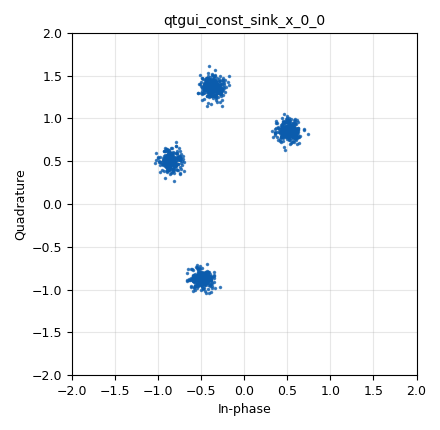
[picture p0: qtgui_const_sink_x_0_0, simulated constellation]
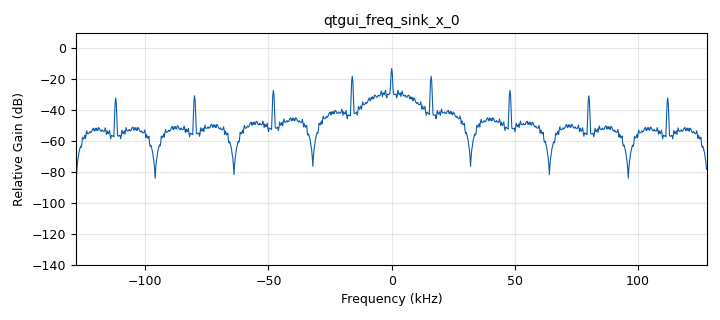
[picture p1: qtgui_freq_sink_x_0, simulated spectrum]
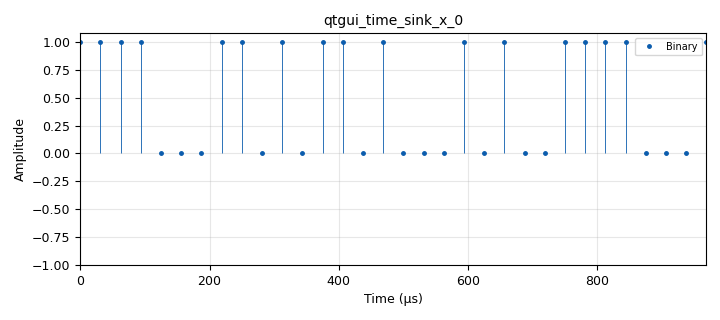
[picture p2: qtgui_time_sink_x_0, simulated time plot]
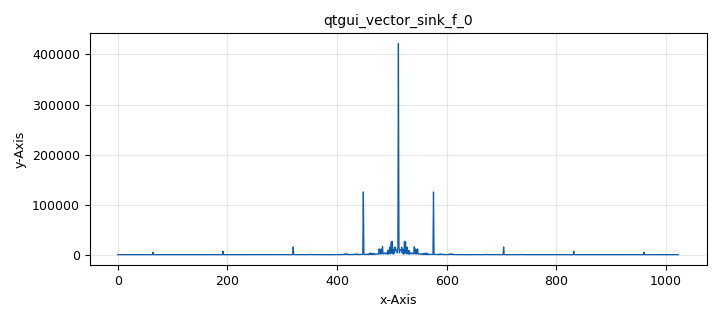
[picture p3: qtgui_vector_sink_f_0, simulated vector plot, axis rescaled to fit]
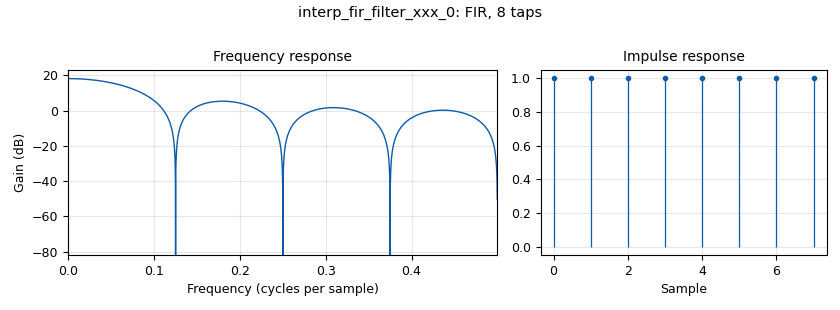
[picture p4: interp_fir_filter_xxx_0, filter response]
options:
  parameters:
    generate_options: qt_gui
    id: p444
    output_language: python
    title: Not titled yet
  states: {}

blocks:
- name: M
  id: variable
  parameters:
    value: '2'
  states: {}
- name: Nbps
  id: variable
  parameters:
    value: int(math.log(M,2))
  states: {}
- name: Rb
  id: variable
  parameters:
    value: '32000'
  states: {}
- name: Rs
  id: variable
  parameters:
    value: Rb/Nbps
  states: {}
- name: Sps
  id: variable
  parameters:
    value: len(h)
  states: {}
- name: constelacion
  id: variable
  parameters:
    value: |-
      [
          0.5 + 0.5*math.sqrt(3)*1j,
          (-math.sqrt(3) + 1)/2 + ((math.sqrt(3) + 1)/2)*1j,
          -0.5 - 0.5*math.sqrt(3)*1j,
          -0.5*math.sqrt(3) + 0.5j
      ]
  states: {}
- name: h
  id: variable
  parameters:
    value: (1.,1.,1.,1.,1.,1.,1.,1.)
  states: {}
- name: samp_rate
  id: variable
  parameters:
    value: Rs*Sps
  states: {}
- name: analog_noise_source_x_0
  id: analog_noise_source_x
  parameters:
    amp: '0.1'
    noise_type: analog.GR_GAUSSIAN
    seed: '0'
    type: complex
  states: {}
- name: analog_random_source_x_0
  id: analog_random_source_x
  parameters:
    max: '2'
    min: '0'
    num_samps: '1000'
    repeat: 'True'
    type: byte
  states: {}
- name: blocks_add_xx_0
  id: blocks_add_xx
  parameters:
    type: complex
  states: {}
- name: blocks_char_to_float_0
  id: blocks_char_to_float
  parameters:
    scale: '1'
  states: {}
- name: blocks_char_to_float_0_0
  id: blocks_char_to_float
  parameters:
    scale: '1'
  states: {state: disabled}
- name: blocks_complex_to_mag_0
  id: blocks_complex_to_mag
  parameters:
    vlen: '1024'
  states: {}
- name: blocks_multiply_xx_0
  id: blocks_multiply_xx
  parameters:
    type: float
    vlen: '1024'
  states: {}
- name: blocks_null_sink_0
  id: blocks_null_sink
  parameters:
    type: complex
  states: {}
- name: blocks_repack_bits_bb_0
  id: blocks_repack_bits_bb
  parameters:
    endianness: gr.GR_LSB_FIRST
    k: '1'
    l: Nbps
  states: {}
- name: blocks_stream_to_vector_0
  id: blocks_stream_to_vector
  parameters:
    num_items: '1024'
    type: complex
  states: {}
- name: blocks_throttle2_0
  id: blocks_throttle2
  parameters:
    samples_per_second: samp_rate
    type: complex
  states: {}
- name: digital_chunks_to_symbols_xx_0
  id: digital_chunks_to_symbols_xx
  parameters:
    dimension: '2'
    in_type: byte
    out_type: complex
    symbol_table: constelacion
  states: {}
- name: fft_vxx_0
  id: fft_vxx
  parameters:
    fft_size: '1024'
    forward: 'True'
    shift: 'True'
    type: complex
    window: '[1]*1024'
  states: {}
- name: import_0
  id: import
  parameters:
    imports: import math
  states: {}
- name: interp_fir_filter_xxx_0
  id: interp_fir_filter_xxx
  parameters:
    interp: '8'
    taps: h
    type: ccc
  states: {}
- name: qtgui_const_sink_x_0
  id: qtgui_const_sink_x
  parameters:
    size: '1024'
    type: complex
  states: {state: disabled}
- name: qtgui_const_sink_x_0_0
  id: qtgui_const_sink_x
  parameters:
    size: '1024'
    type: complex
  states: {}
- name: qtgui_freq_sink_x_0
  id: qtgui_freq_sink_x
  parameters:
    average: '0.05'
    bw: samp_rate
    fc: '0'
    fftsize: '1024'
    type: complex
  states: {}
- name: qtgui_time_sink_x_0
  id: qtgui_time_sink_x
  parameters:
    label1: Binary
    marker1: '0'
    size: '32'
    srate: Rb
    stemplot: 'True'
    type: float
    width1: '3'
  states: {}
- name: qtgui_time_sink_x_0_0
  id: qtgui_time_sink_x
  parameters:
    label1: M-PAM
    marker1: '0'
    size: int(32/Nbps)
    srate: Rs
    stemplot: 'True'
    type: float
    width1: '3'
  states: {state: disabled}
- name: qtgui_time_sink_x_0_0_0
  id: qtgui_time_sink_x
  parameters:
    label1: M-PAM mod
    marker1: '0'
    size: int(32/Nbps)
    srate: Rs
    stemplot: 'True'
    type: float
    width1: '3'
  states: {state: disabled}
- name: qtgui_time_sink_x_1
  id: qtgui_time_sink_x
  parameters:
    label1: EC REAL
    label2: EC IMAG
    marker1: '0'
    marker2: '0'
    size: int(32/Nbps)
    srate: Rs
    stemplot: 'True'
    type: complex
    width1: '3'
    width2: '3'
  states: {state: disabled}
- name: qtgui_time_sink_x_1_0
  id: qtgui_time_sink_x
  parameters:
    color1: black
    label1: EC REAL
    label2: EC IMAG
    size: int(32*Sps/Nbps)
    srate: samp_rate
    style1: '2'
    type: complex
    width1: '3'
    width2: '3'
  states: {state: disabled}
- name: qtgui_time_sink_x_1_1
  id: qtgui_time_sink_x
  parameters:
    label1: EC REAL
    label2: EC IMAG
    size: '512'
    srate: Rs
    type: complex
    width1: '3'
    width2: '3'
  states: {state: disabled}
- name: qtgui_vector_sink_f_0
  id: qtgui_vector_sink_f
  parameters:
    vlen: '1024'
    x_start: '0'
    x_step: '1.0'
  states: {}

connections:
- [analog_noise_source_x_0, '0', blocks_add_xx_0, '1']
- [analog_noise_source_x_0, '0', qtgui_time_sink_x_1_1, '0']
- [analog_random_source_x_0, '0', blocks_char_to_float_0, '0']
- [analog_random_source_x_0, '0', blocks_repack_bits_bb_0, '0']
- [blocks_add_xx_0, '0', blocks_null_sink_0, '0']
- [blocks_add_xx_0, '0', qtgui_const_sink_x_0_0, '0']
- [blocks_char_to_float_0, '0', qtgui_time_sink_x_0, '0']
- [blocks_char_to_float_0_0, '0', qtgui_time_sink_x_0_0, '0']
- [blocks_complex_to_mag_0, '0', blocks_multiply_xx_0, '0']
- [blocks_complex_to_mag_0, '0', blocks_multiply_xx_0, '1']
- [blocks_multiply_xx_0, '0', qtgui_vector_sink_f_0, '0']
- [blocks_repack_bits_bb_0, '0', blocks_char_to_float_0_0, '0']
- [blocks_repack_bits_bb_0, '0', digital_chunks_to_symbols_xx_0, '0']
- [blocks_stream_to_vector_0, '0', fft_vxx_0, '0']
- [blocks_throttle2_0, '0', blocks_add_xx_0, '0']
- [digital_chunks_to_symbols_xx_0, '0', interp_fir_filter_xxx_0, '0']
- [fft_vxx_0, '0', blocks_complex_to_mag_0, '0']
- [interp_fir_filter_xxx_0, '0', blocks_stream_to_vector_0, '0']
- [interp_fir_filter_xxx_0, '0', blocks_throttle2_0, '0']
- [interp_fir_filter_xxx_0, '0', qtgui_freq_sink_x_0, '0']
- [interp_fir_filter_xxx_0, '0', qtgui_time_sink_x_1_0, '0']

metadata:
  file_format: 1
  grc_version: 3.10.12.0
